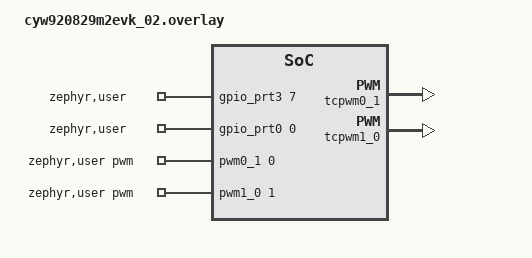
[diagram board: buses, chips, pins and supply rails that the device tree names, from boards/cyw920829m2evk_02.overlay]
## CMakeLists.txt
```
# SPDX-License-Identifier: Apache-2.0

cmake_minimum_required(VERSION 3.28.0)
find_package(Zephyr REQUIRED HINTS $ENV{ZEPHYR_BASE})
project(pwm_gpio)

FILE(GLOB app_sources src/*.c)
target_sources(app PRIVATE ${app_sources})
```

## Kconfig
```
# Copyright (c) 2024 Espressif Systems (Shanghai) Co., Ltd.
# SPDX-License-Identifier: Apache-2.0

mainmenu "PWM GPIO loopback test"

source "Kconfig.zephyr"

config SAMPLING_TIME
	int "Sampling wait time (ms)"
	default 50
	help
	  Time to wait for PWM edge sampling, in milliseconds.

config SKIP_EDGE_NUM
	int "Number of edges to skip before sampling PWM"
	default 2
	help
	  Number of PWM edges to skip before starting sampling.
	  This parameter improves measurement precision as there can be significant
	  latency in the first sampled edge.

config ALLOWED_DEVIATION
	int "Allowed deviation (%) for PWM timing checks"
	default 5
	range 0 100
	help
	  Maximum allowed deviation (%) from the programmed values for the test to be
	  considered a PASS. For example, if set to 5, the measured period or duty cycle
	  can deviate by up to 5% from the programmed values for the test to pass.
```

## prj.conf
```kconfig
CONFIG_PWM=y
CONFIG_ZTEST=y
```

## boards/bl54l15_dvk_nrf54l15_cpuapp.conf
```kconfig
# Copyright (c) 2024 Nordic Semiconductor ASA
# Copyright (c) 2025 Ezurio LLC
# SPDX-License-Identifier: Apache-2.0

CONFIG_SKIP_EDGE_NUM=4
```

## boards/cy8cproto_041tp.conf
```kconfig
CONFIG_GPIO=y
CONFIG_SYS_CLOCK_HW_CYCLES_PER_SEC=24000000
```

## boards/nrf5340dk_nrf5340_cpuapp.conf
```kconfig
CONFIG_SKIP_EDGE_NUM=4
```

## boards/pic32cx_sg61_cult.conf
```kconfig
# Copyright (c) 2026 Microchip Technology Inc.
# SPDX-License-Identifier: Apache-2.0

CONFIG_GPIO=y
```

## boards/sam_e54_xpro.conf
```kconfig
# Copyright (c) 2025 Microchip Technology Inc.
# SPDX-License-Identifier: Apache-2.0

CONFIG_GPIO=y
```

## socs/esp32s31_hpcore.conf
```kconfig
CONFIG_SKIP_EDGE_NUM=6
```

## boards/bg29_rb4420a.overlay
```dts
/*
 * Copyright (c) 2025 Silicon Laboratories Inc.
 *
 * SPDX-License-Identifier: Apache-2.0
 */

#include <zephyr/dt-bindings/pwm/pwm.h>

/* Connections:
 * EXP4 - EXP6: TIMER (PC5) to GPIO (PC3)
 */

/ {
	zephyr,user {
		pwms = <&timer0_pwm 0 PWM_MSEC(5) PWM_POLARITY_NORMAL>;
		gpios = <&gpioc 3 GPIO_ACTIVE_HIGH>;
	};
};

&pinctrl {
	timer0_default: timer0_default {
		group1 {
			pins = <TIMER0_CC0_PC5>;
			drive-push-pull;
		};
	};
};

&timer0 {
	status = "okay";

	timer0_pwm: pwm {
		pinctrl-0 = <&timer0_default>;
		pinctrl-names = "default";
		status = "okay";
	};
};
```

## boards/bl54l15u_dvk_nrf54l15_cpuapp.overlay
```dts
/*
 * Copyright (c) 2024 Nordic Semiconductor ASA
 * Copyright (c) 2025 Ezurio LLC
 * SPDX-License-Identifier: Apache-2.0
 *
 * Test requires jumper between:
 *  - PWM20 OUT[0] at P1.10 <-> GPIO input at P1.11
 */

/ {
	zephyr,user {
		pwms = <&pwm20 0 160000 PWM_POLARITY_NORMAL>;
		gpios = <&gpio1 11 GPIO_ACTIVE_HIGH>;
	};
};
```

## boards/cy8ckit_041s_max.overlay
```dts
/*
 * SPDX-FileCopyrightText: Copyright (c) 2026 Infineon Technologies AG,
 * SPDX-FileCopyrightText: or an affiliate of Infineon Technologies AG. All rights reserved.
 *
 * SPDX-License-Identifier: Apache-2.0
 */

#include <zephyr/dt-bindings/pwm/pwm.h>
#include <zephyr/dt-bindings/pwm/pwm_ifx_tcpwm.h>

/ {
	zephyr,user {
		/* PWM out on P2.0, GPIO in on P2.1.
		 * These pins must be physically connected for the test to pass.
		 */
		pwms = <&pwm0_4 0 PWM_MSEC(2) (PWM_POLARITY_NORMAL | PWM_IFX_TCPWM_OUTPUT_HIGHZ)>;
		gpios = <&gpio_prt2 1 GPIO_ACTIVE_HIGH>;
	};
};

&tcpwm0_4 {
	status = "okay";

	pwm0_4: pwm0_4 {
		compatible = "infineon,tcpwm-pwm";
		status = "okay";
		clocks = <&peri_clk_div3>;
		pinctrl-0 = <&p2_0_pwm0_4>;
		pinctrl-names = "default";
	};
};

&peri_clk_div3 {
	status = "okay";
	clock-div = <24>;
};

&pinctrl {
	p2_0_pwm0_4: p2_0_pwm0_4 {
		drive-push-pull;
	};
};

&gpio_prt2 {
	status = "okay";
};
```

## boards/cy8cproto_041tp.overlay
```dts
/*
 * SPDX-FileCopyrightText: Copyright (c) 2026 Infineon Technologies AG,
 * SPDX-FileCopyrightText: or an affiliate of Infineon Technologies AG. All rights reserved.
 *
 * SPDX-License-Identifier: Apache-2.0
 */

#include <zephyr/dt-bindings/pwm/pwm.h>
#include <zephyr/dt-bindings/pwm/pwm_ifx_tcpwm.h>

/ {
	zephyr,user {
		/* PWM out on P3.1, GPIO in on P3.0.
		 * These pins must be physically connected for the test to pass.
		 */
		pwms = <&pwm0_0 0 PWM_MSEC(2) (PWM_POLARITY_NORMAL | PWM_IFX_TCPWM_OUTPUT_HIGHZ)>;
		gpios = <&gpio_prt3 0 GPIO_ACTIVE_HIGH>;
	};
};

&tcpwm0_0 {
	status = "okay";

	pwm0_0: pwm0_0 {
		compatible = "infineon,tcpwm-pwm";
		clocks = <&peri_clk_div3>;
		pinctrl-0 = <&p3_1_pwm0_0>;
		pinctrl-names = "default";
		status = "okay";
	};
};

&peri_clk_div3 {
	clock-div = <24>;
	status = "okay";
};

&pinctrl {
	p3_1_pwm0_0: p3_1_pwm0_0 {
		drive-push-pull;
	};
};

&gpio_prt3 {
	status = "okay";
};
```

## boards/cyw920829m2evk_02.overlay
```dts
/*
 * Copyright (c) 2025 Infineon Technologies AG,
 * or an affiliate of Infineon Technologies AG.
 *
 * SPDX-License-Identifier: Apache-2.0
 */

#include <zephyr/dt-bindings/pwm/pwm.h>
#include <zephyr/dt-bindings/pwm/pwm_ifx_tcpwm.h>

/ {
	zephyr,user {
		pwms = <&pwm0_1 0 PWM_MSEC(2) (PWM_POLARITY_NORMAL | PWM_IFX_TCPWM_OUTPUT_HIGHZ)>,
			<&pwm1_0 1 PWM_MSEC(2) (PWM_POLARITY_NORMAL | PWM_IFX_TCPWM_OUTPUT_HIGHZ)>;
		gpios = <&gpio_prt3 7 GPIO_ACTIVE_HIGH>,
			<&gpio_prt0 0 GPIO_ACTIVE_HIGH>;
	};
};

&tcpwm0_1 {
	status = "okay";
	divider-type = <PWM_IFX_SYSCLK_DIV_16_BIT>;
	divider-sel = <1>;
	divider-val = <9599>;

	pwm0_1: pwm0_1 {
		status = "okay";
		pinctrl-0 = <&p3_6_pwm0_1>;
		pinctrl-names = "default";
	};
};

&tcpwm1_0 {
	status = "okay";
	divider-type = <PWM_IFX_SYSCLK_DIV_16_BIT>;
	divider-sel = <1>;
	divider-val = <9599>;

	pwm1_0: pwm1_0 {
		status = "okay";
		pinctrl-0 = <&p0_1_pwm1_0>;
		pinctrl-names = "default";
	};
};

&pinctrl {
	p3_6_pwm0_1: p3_6_pwm0_1 {
		drive-push-pull;
	};

	p0_1_pwm1_0: p0_1_pwm1_0 {
		drive-push-pull;
	};
};
```

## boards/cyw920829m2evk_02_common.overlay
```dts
/*
 * SPDX-FileCopyrightText: Copyright (c) 2026 Infineon Technologies AG,
 * SPDX-FileCopyrightText: or an affiliate of Infineon Technologies AG. All rights reserved.
 *
 * SPDX-License-Identifier: Apache-2.0
 */

#include <zephyr/dt-bindings/pwm/pwm.h>
#include <zephyr/dt-bindings/pwm/pwm_ifx_tcpwm.h>

/ {
	zephyr,user {
		pwms = <&pwm0_1 0 PWM_MSEC(2) (PWM_POLARITY_NORMAL | PWM_IFX_TCPWM_OUTPUT_HIGHZ)>,
		       <&pwm1_0 1 PWM_MSEC(2) (PWM_POLARITY_NORMAL | PWM_IFX_TCPWM_OUTPUT_HIGHZ)>;
		gpios = <&gpio_prt3 7 GPIO_ACTIVE_HIGH>,
			<&gpio_prt0 0 GPIO_ACTIVE_HIGH>;
	};
};

&tcpwm0_1 {
	status = "okay";

	pwm0_1: pwm0_1 {
		clocks = <&peri0_group1_16bit_0>;
		pinctrl-0 = <&p3_6_pwm0_1>;
		pinctrl-names = "default";
		status = "okay";
	};
};

&peri0_group1_16bit_0 {
	clock-div = <9600>;
	status = "okay";
};

&tcpwm1_0 {
	status = "okay";

	pwm1_0: pwm1_0 {
		clocks = <&peri0_group1_16bit_1>;
		pinctrl-0 = <&p0_1_pwm1_0>;
		pinctrl-names = "default";
		status = "okay";
	};
};

&peri0_group1_16bit_1 {
	clock-div = <9600>;
	status = "okay";
};

&pinctrl {
	p3_6_pwm0_1: p3_6_pwm0_1 {
		drive-push-pull;
	};

	p0_1_pwm1_0: p0_1_pwm1_0 {
		drive-push-pull;
	};
};
```

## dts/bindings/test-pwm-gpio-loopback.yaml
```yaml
#
# Copyright (c) 2024 Espressif Systems (Shanghai) Co., Ltd.
#
# SPDX-License-Identifier: Apache-2.0
#

description: |
    This binding provides resources required to build and run the test
    tests/drivers/pwm/pwm_gpio_loopback.

compatible: "test-pwm-gpio-loopback"

properties:
  in-gpios:
    type: phandle-array
    required: true
    description: |
      GPIO to be used as input to check and validate PWM timing.
```

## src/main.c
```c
/*
 * Copyright (c) 2025 Espressif Systems (Shanghai) Co., Ltd.
 *
 * SPDX-License-Identifier: Apache-2.0
 */

/**
 * @file
 * @brief Generate PWM signals in different configurations and use a GPIO
 * input pin to check the programmed timing. This test uses the systimer as
 * benchmark, so it assumes the system tick is verified and precise.
 */

#include <zephyr/device.h>
#include <zephyr/devicetree.h>
#include <zephyr/drivers/pwm.h>
#include <zephyr/kernel.h>
#include <zephyr/ztest.h>
#include <zephyr/drivers/gpio.h>
#include <stdlib.h>
#include <math.h>
#include <zephyr/pm/device_runtime.h>

static struct gpio_callback gpio_cb;

#define TEST_PWM_COUNT                      DT_PROP_LEN(DT_PATH(zephyr_user), pwms)
#define TEST_PWM_CONFIG_ENTRY(idx, node_id) PWM_DT_SPEC_GET_BY_IDX(node_id, idx)
#define TEST_PWM_CONFIG_ARRAY(node_id)                                                             \
	{                                                                                          \
		LISTIFY(TEST_PWM_COUNT, TEST_PWM_CONFIG_ENTRY, (,), node_id)                       \
	}

#define TEST_GPIO_COUNT                      DT_PROP_LEN(DT_PATH(zephyr_user), gpios)
#define TEST_GPIO_CONFIG_ENTRY(idx, node_id) GPIO_DT_SPEC_GET_BY_IDX(node_id, gpios, idx)
#define TEST_GPIO_CONFIG_ARRAY(node_id)                                                            \
	{                                                                                          \
		LISTIFY(TEST_GPIO_COUNT, TEST_GPIO_CONFIG_ENTRY, (,), node_id)                     \
	}

static const struct pwm_dt_spec pwms_dt[] = TEST_PWM_CONFIG_ARRAY(DT_PATH(zephyr_user));
static const struct gpio_dt_spec gpios_dt[] = TEST_GPIO_CONFIG_ARRAY(DT_PATH(zephyr_user));

static struct test_context {
	uint32_t last_edge_time;
	uint32_t high_time;
	uint32_t low_time;
	bool sampling_done;
	uint8_t skip_cnt;
} ctx;

static void gpio_edge_isr(const struct device *dev, struct gpio_callback *cb, uint32_t pins)
{
	int pin_state;
	uint32_t current_time = k_cycle_get_32();

	if (ctx.sampling_done || ++ctx.skip_cnt <= CONFIG_SKIP_EDGE_NUM) {
		return;
	}

	if (!ctx.last_edge_time) {
		/* init last_edge_time for first delta */
		ctx.last_edge_time = current_time;
		return;
	}

	uint32_t elapsed_time = current_time - ctx.last_edge_time;

	int pin = __builtin_ffs(pins) - 1;

	if (pin >= 0) {
		pin_state = gpio_pin_get(dev, pin);
	} else {
		return;
	}

	if (pin_state) {
		ctx.low_time = elapsed_time;
	} else {
		ctx.high_time = elapsed_time;
	}

	/* sampling is done when both high and low times were stored */
	if (ctx.high_time && ctx.low_time) {
		ctx.sampling_done = true;
	}

	ctx.last_edge_time = current_time;
}

static void setup_edge_detect(void)
{
	ctx.last_edge_time = 0;
	ctx.high_time = 0;
	ctx.low_time = 0;
	ctx.sampling_done = false;
	ctx.skip_cnt = 0;
}

static void config_gpio(const struct gpio_dt_spec *gpio_dt)
{
	gpio_pin_configure_dt(gpio_dt, GPIO_INPUT);
	gpio_init_callback(&gpio_cb, gpio_edge_isr, BIT(gpio_dt->pin));
	gpio_add_callback(gpio_dt->port, &gpio_cb);
}

static void enable_int_gpio(const struct gpio_dt_spec *gpio_dt, bool enable)
{
	if (enable) {
		gpio_pin_interrupt_configure(gpio_dt->port, gpio_dt->pin, GPIO_INT_EDGE_BOTH);
		gpio_cb.pin_mask = BIT(gpio_dt->pin);
	} else {
		gpio_pin_interrupt_configure(gpio_dt->port, gpio_dt->pin, GPIO_INT_DISABLE);
	}
}

static bool check_range(float refval, float measval)
{
	float delta = fabsf(refval - measval);
	float allowed_deviation = (refval * (float)CONFIG_ALLOWED_DEVIATION) / 100;

	return delta <= allowed_deviation;
}

static int check_timing(const struct pwm_dt_spec *pwm_dt, const struct gpio_dt_spec *gpio_dt,
			uint8_t duty)
{
	uint64_t cycles_s_sys, cycles_s_pwm;
	int pin_state;
	bool inverted = (pwm_dt->flags & PWM_POLARITY_INVERTED) ? true : false;

	/* reset parameters for edge detection */
	setup_edge_detect();

	/* wait for sampling */
	k_sleep(K_MSEC(CONFIG_SAMPLING_TIME));

	/* store pin state for duty == 100% or 0% checks */
	pin_state = gpio_pin_get_dt(gpio_dt);

	if (inverted) {
		pin_state = !pin_state;
	}

	cycles_s_sys = (uint64_t)sys_clock_hw_cycles_per_sec();
	pwm_get_cycles_per_sec(pwm_dt->dev, pwm_dt->channel, &cycles_s_pwm);

	/* sampling_done should be false for 0 and 100% duty (no switching) */
	TC_PRINT("Sampling done: %s\n", ctx.sampling_done ? "true" : "false");

	if (duty == 100) {
		if ((pin_state == 1) && !ctx.sampling_done) {
			return TC_PASS;
		} else {
			return TC_FAIL;
		}
	} else if (duty == 0) {
		if ((pin_state == 0) && !ctx.sampling_done) {
			return TC_PASS;
		} else {
			return TC_FAIL;
		}
	} else {
		uint32_t measured_period = ctx.high_time + ctx.low_time;
		uint32_t measured_period_ns = (measured_period * 1e9) / cycles_s_sys;
		uint32_t pulse_time = inverted ? ctx.low_time : ctx.high_time;
		float measured_duty = (pulse_time * 100.0f) / measured_period;
		uint32_t measured_duty_2p = (uint32_t)(measured_duty * 100);
		uint32_t period_deviation_2p =
			(uint64_t)10000 * abs(measured_period_ns - pwm_dt->period) / pwm_dt->period;
		uint32_t duty_deviation_2p =
			(uint32_t)10000 * fabs(measured_duty - (float)duty) / duty;

		TC_PRINT("Measured period: %u cycles, high: %u, low: %u [unit: systimer ticks]\n",
			 measured_period, ctx.high_time, ctx.low_time);
		TC_PRINT("Measured period: %u ns, deviation: %d.%d%%\n", measured_period_ns,
			 period_deviation_2p / 100, period_deviation_2p % 100);
		TC_PRINT("Measured duty: %d.%d%%, deviation: %d.%d%%\n", measured_duty_2p / 100,
			 measured_duty_2p % 100, duty_deviation_2p / 100, duty_deviation_2p % 100);

		/* Compare measured values with expected ones */
		if (check_range(measured_period_ns, pwm_dt->period) &&
		    check_range(measured_duty, duty)) {
			TC_PRINT("PWM output matches the programmed values\n");
			return TC_PASS;
		}

		TC_PRINT("PWM output does NOT match the programmed values\n");
		return TC_FAIL;
	}
}

static void test_run(const struct pwm_dt_spec *pwm_dt, const struct gpio_dt_spec *gpio_dt,
		     uint8_t duty, bool set_channel)
{
	int result;
	uint32_t pulse = (uint32_t)((pwm_dt->period * duty) / 100);
	bool inverted = (pwm_dt->flags & PWM_POLARITY_INVERTED) ? true : false;

	TC_PRINT("Test case: [Channel: %" PRIu32 "] [Period: %" PRIu32 "] [Pulse: %" PRIu32
		 "] [Inverted: %s]\n",
		 pwm_dt->channel, pwm_dt->period, pulse, inverted ? "Yes" : "No");

	if (set_channel) {
		result = pwm_set_dt(pwm_dt, pwm_dt->period, pulse);
		zassert_false(result, "Failed on pwm_set() call");
	}

	enable_int_gpio(gpio_dt, true);

	result = check_timing(pwm_dt, gpio_dt, duty);

	enable_int_gpio(gpio_dt, false);

	zassert_equal(result, TC_PASS, "Test case failed");
}

ZTEST(pwm_gpio_loopback, test_pwm)
{
	for (int i = 0; i < TEST_PWM_COUNT; i++) {
		zassert_true(device_is_ready(pwms_dt[i].dev), "PWM device is not ready");

		/* Test case: [Duty: 25%] */
		test_run(&pwms_dt[i], &gpios_dt[i], 25, true);

		/* Test case: [Duty: 100%] */
		test_run(&pwms_dt[i], &gpios_dt[i], 100, true);

		/* Test case: [Duty: 0%] */
		test_run(&pwms_dt[i], &gpios_dt[i], 0, true);

		/* Test case: [Duty: 80%] */
		test_run(&pwms_dt[i], &gpios_dt[i], 80, true);
	}
}

ZTEST(pwm_gpio_loopback, test_pwm_cross)
{
	uint8_t duty[TEST_PWM_COUNT];
	const int duty_step = 25;
	const int duty_variations = 5;

	/* Initial sweep with increasing duty cycles */
	for (int i = 0; i < TEST_PWM_COUNT; i++) {
		duty[i] = (i % duty_variations) * duty_step;
		test_run(&pwms_dt[i], &gpios_dt[i], duty[i], true);
	}

	/* Repeat test with persistent config checks and rotated duty cycles */
	for (int j = 1; j < duty_variations; j++) {
		for (int i = 0; i < TEST_PWM_COUNT; i++) {
			test_run(&pwms_dt[i], &gpios_dt[i], duty[i], false);
		}
		for (int i = 0; i < TEST_PWM_COUNT; i++) {
			duty[i] = ((j + i) % duty_variations) * duty_step;
			test_run(&pwms_dt[i], &gpios_dt[i], duty[i], true);
		}
	}
}

#if defined(CONFIG_PM_DEVICE)
ZTEST(pwm_gpio_loopback, test_pwm_pm)
{
	/* Test case: [Duty: 100%] */
	test_run(&pwms_dt[0], &gpios_dt[0], 100, true);

	for (int i = 1; i < TEST_PWM_COUNT; i++) {
		/* Test case: [Duty: 75%] */
		test_run(&pwms_dt[i], &gpios_dt[i], 75, true);
	}

	/* Set all channels, invoke sleep and check if they retain
	 * the original configuration
	 */
	TC_PRINT("Entering light sleep...\n");
	k_sleep(K_SECONDS(1));

	 /* Test case: [Duty: 100%] */
	test_run(&pwms_dt[0], &gpios_dt[0], 100, false);

	for (int i = 1; i < TEST_PWM_COUNT; i++) {
		/* Test case: [Duty: 75%] */
		test_run(&pwms_dt[i], &gpios_dt[i], 75, false);
	}
}
#endif

static void *pwm_gpio_loopback_setup(void)
{
	for (int i = 0; i < TEST_GPIO_COUNT; i++) {
		if (device_is_ready(gpios_dt[i].port)) {
			/* Configure GPIO pin for edge detection */
			config_gpio(&gpios_dt[i]);
		} else {
			TC_PRINT("GPIO device %s is not ready", gpios_dt[i].port->name);
		}
	}

	return NULL;
}

static void pwm_gpio_loopback_before(void *f)
{
	for (int i = 0; i < TEST_PWM_COUNT; i++) {
		zassert_ok(pm_device_runtime_get(pwms_dt[i].dev));
	}
}

static void pwm_gpio_loopback_after(void *f)
{
	for (int i = 0; i < TEST_PWM_COUNT; i++) {
		zassert_ok(pm_device_runtime_put(pwms_dt[i].dev));
	}
}

ZTEST_SUITE(pwm_gpio_loopback, NULL, pwm_gpio_loopback_setup, pwm_gpio_loopback_before,
	    pwm_gpio_loopback_after, NULL);
```
